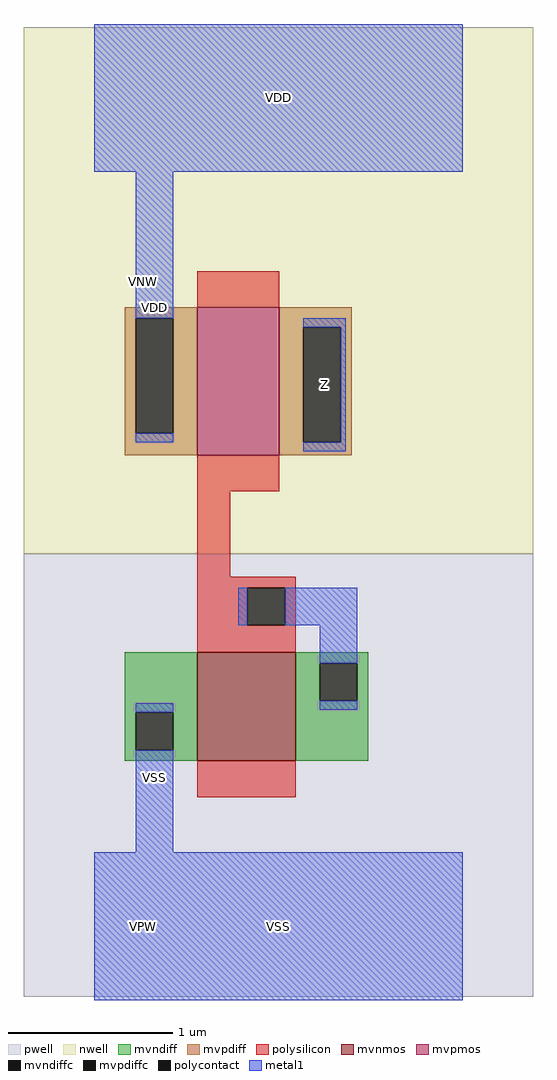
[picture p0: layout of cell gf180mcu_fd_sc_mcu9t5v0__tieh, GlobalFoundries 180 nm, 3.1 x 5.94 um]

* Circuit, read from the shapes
.subckt gf180mcu_fd_sc_mcu9t5v0__tieh Z VDD VNW VPW VSS
XM1 n1 n1 VSS VPW nfet_06v0 w=0.66u l=0.6u
XM2 Z n1 VDD VNW pfet_06v0 w=0.9u l=0.5u
.ends

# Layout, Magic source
magic
tech gf180mcuD
magscale 1 10
<< nwell >>
rect -86 453 534 1094
<< pwell >>
rect -86 -86 534 453
<< mvnmos >>
rect 125 201 245 333
<< mvpmos >>
rect 125 573 225 753
<< mvndiff >>
rect 37 260 125 333
rect 37 214 50 260
rect 96 214 125 260
rect 37 201 125 214
rect 245 320 333 333
rect 245 274 274 320
rect 320 274 333 320
rect 245 201 333 274
<< mvpdiff >>
rect 37 740 125 753
rect 37 600 50 740
rect 96 600 125 740
rect 37 573 125 600
rect 225 729 313 753
rect 225 589 254 729
rect 300 589 313 729
rect 225 573 313 589
<< mvndiffc >>
rect 50 214 96 260
rect 274 274 320 320
<< mvpdiffc >>
rect 50 600 96 740
rect 254 589 300 729
<< polysilicon >>
rect 125 753 225 797
rect 125 529 225 573
rect 125 425 165 529
rect 125 412 245 425
rect 125 366 186 412
rect 232 366 245 412
rect 125 333 245 366
rect 125 157 245 201
<< polycontact >>
rect 186 366 232 412
<< metal1 >>
rect 0 918 448 1098
rect 50 740 96 918
rect 50 589 96 600
rect 254 729 306 740
rect 300 589 306 729
rect 254 578 306 589
rect 175 366 186 412
rect 232 366 320 412
rect 274 320 320 366
rect 50 260 96 271
rect 274 263 320 274
rect 50 90 96 214
rect 0 -90 448 90
<< labels >>
flabel metal1 s 0 918 448 1098 0 FreeSans 200 0 0 0 VDD
port 2 nsew power bidirectional abutment
flabel metal1 s 50 90 96 271 0 FreeSans 200 0 0 0 VSS
port 5 nsew ground bidirectional abutment
flabel metal1 s 254 578 306 740 0 FreeSans 200 0 0 0 Z
port 1 nsew default output
flabel nwell s 10 734 110 834 0 FreeSans 400 0 0 0 VNW
port 3 nsew power bidirectional
flabel pwell s 10 -50 110 50 0 FreeSans 400 0 0 0 VPW
port 4 nsew ground bidirectional
rlabel metal1 s 50 589 96 918 1 VDD
port 2 nsew power bidirectional abutment
rlabel metal1 s 0 -90 448 90 1 VSS
port 5 nsew ground bidirectional abutment
<< properties >>
string FIXED_BBOX 0 0 448 1008
string GDS_END 443306
string GDS_FILE $PDKPATH/libs.ref/gf180mcu_fd_sc_mcu9t5v0/gds/gf180mcu_fd_sc_mcu9t5v0.gds
string GDS_START 441202
string LEFclass core TIEHIGH
string LEFsite GF018hv5v_green_sc9
string LEFsymmetry X Y
<< end >>
